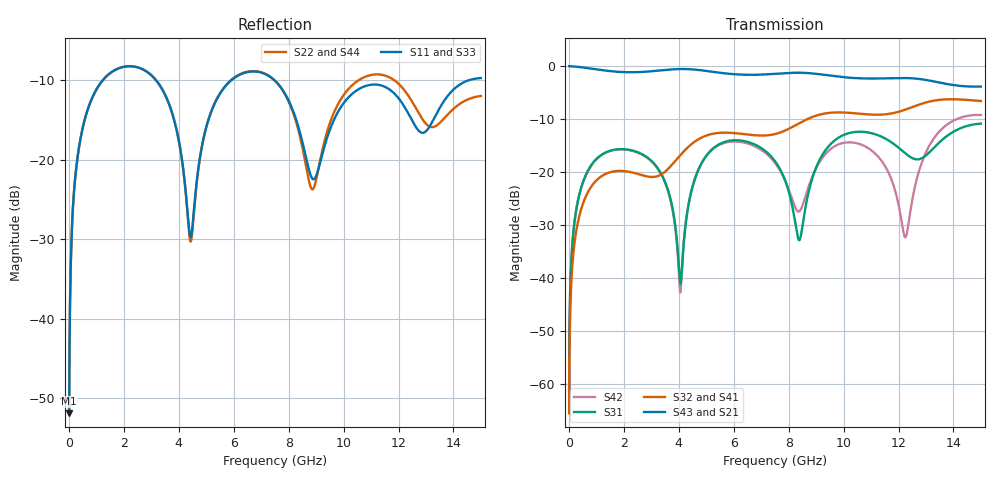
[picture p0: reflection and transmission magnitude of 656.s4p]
! Created with skrf 1.8.0 (http://scikit-rf.org).
# GHz S RI R 50.0
!freq ReS11 ImS11 ReS12 ImS12 ReS13 ImS13
! ReS14 ImS14
! ReS21 ImS21 ReS22 ImS22 ReS23 ImS23
! ReS24 ImS24
! ReS31 ImS31 ReS32 ImS32 ReS33 ImS33
! ReS34 ImS34
! ReS41 ImS41 ReS42 ImS42 ReS43 ImS43
! ReS44 ImS44
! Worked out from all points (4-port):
!   2499 points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, 5 MHz to 15 GHz, reference 50 ohm
!   strongest paths, dB at 5 MHz, 3.476 GHz, 7.19 GHz, 11.1 GHz, 15 GHz:
!     S43: 0.0, -0.7, -1.6, -2.3, -3.9
!     S21: 0.0, -0.7, -1.6, -2.3, -3.8
!     S32: -65.4, -20.0, -13.1, -9.2, -6.6
!     S41: -65.4, -20.0, -13.1, -9.2, -6.7
!     S31: -61.4, -21.5, -16.2, -12.8, -10.8
!     S42: -61.4, -21.7, -16.5, -16.2, -9.2
!   lowest |S11| = -51.9 dB at 5 MHz (marker M1), VSWR 1.01, Z = 50.2 + j0.153 ohm
!   |S11| at or under -10 dB: start of sweep to 1.224 GHz; 3.178 GHz to 5.904 GHz (2.726 GHz wide, 60 % of centre); 7.493 GHz to 14.53 GHz (7.04 GHz wide, 63.9 % of centre)
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0.005  0.00202 0.00153  0.9979 -0.00393  0.000104 0.000849  -0.000101 -0.000525
       0.9979 -0.00393  0.00202 0.00153  -0.000101 -0.000525  0.000104 0.000849
       0.000104 0.000849  -0.000101 -0.000525  0.00202 0.00153  0.9979 -0.00393
       -0.000101 -0.000525  0.000104 0.000849  0.9979 -0.00393  0.00202 0.00153
1.269279  0.2717 0.1746  0.5434 -0.7307  0.1362 0.0637  -0.0943 -0.00521
          0.5434 -0.7307  0.2722 0.1743  -0.0944 -0.00507  0.1347 0.0657
          0.1362 0.0637  -0.0944 -0.00507  0.2717 0.1747  0.5434 -0.7307
          -0.0943 -0.00521  0.1347 0.0657  0.5434 -0.7307  0.2723 0.1742
4.051688  0.0587 -0.102  -0.8771 -0.3316  -0.00859 -0.00275  -0.0478 0.1364
          -0.8771 -0.3316  0.0567 -0.1031  -0.0461 0.1371  -0.00724 -0.0014
          -0.00859 -0.00275  -0.0461 0.1371  0.0591 -0.103  -0.8769 -0.3318
          -0.0478 0.1364  -0.00724 -0.0014  -0.8769 -0.3318  0.0571 -0.1041
5.252188  0.1547 0.1507  -0.7651 0.4376  0.1331 0.1024  0.1474 0.1766
          -0.7651 0.4376  0.1548 0.1521  0.1499 0.1752  0.1269 0.1066
          0.1331 0.1024  0.1499 0.1752  0.1529 0.1493  -0.7655 0.4377
          0.1474 0.1766  0.1269 0.1066  -0.7655 0.4377  0.1548 0.1507
8.922468  0.0755 -0.00316  0.8411 0.12  0.021 0.0956  0.0409 -0.333
          0.8411 0.12  0.0665 0.00911  0.0329 -0.3342  -0.0165 0.0976
          0.021 0.0956  0.0329 -0.3342  0.074 0.000682  0.8415 0.1168
          0.0409 -0.333  -0.0165 0.0976  0.8415 0.1168  0.0663 0.0146
11.67361  0.273 -0.0502  -0.0916 -0.7644  0.0641 -0.1859  -0.3452 0.0746
          -0.0916 -0.7644  0.3218 -0.0774  -0.3439 0.0892  0.0698 -0.0637
          0.0641 -0.1859  -0.3439 0.0892  0.276 -0.0408  -0.094 -0.7628
          -0.3452 0.0746  0.0698 -0.0637  -0.094 -0.7628  0.3248 -0.0867
15  0.3258 -0.033  -0.4653 0.443  0.2667 0.1057  0.3921 0.2486
    -0.4653 0.443  0.2491 -0.0429  0.4047 0.2363  0.3391 0.0713
    0.2667 0.1057  0.4047 0.2363  0.3232 -0.0324  -0.46 0.4456
    0.3921 0.2486  0.3391 0.0713  -0.46 0.4456  0.2635 -0.0412
